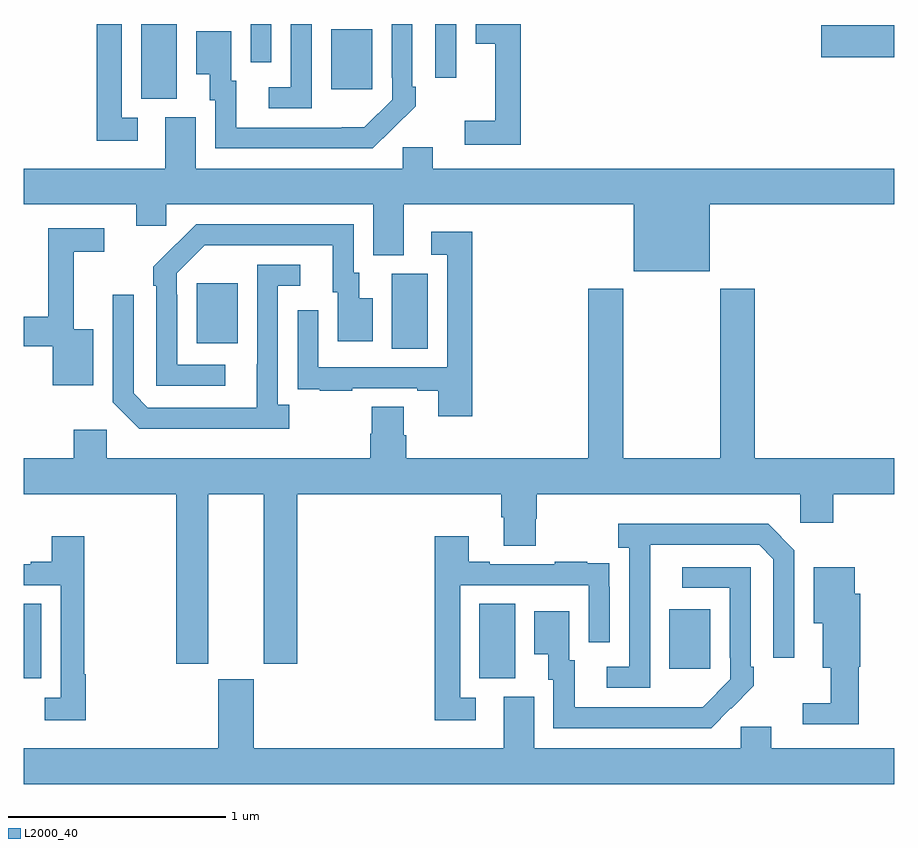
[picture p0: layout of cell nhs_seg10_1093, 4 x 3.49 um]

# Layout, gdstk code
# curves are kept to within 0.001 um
import gdstk
lib = gdstk.Library(unit=1e-6, precision=1e-09)
def R(c, l, rs):  # rectangles x0, y0, x1, y1
    for r in rs: c.add(gdstk.rectangle(r[:2], r[2:], *l))
def P(c, l, *ps):  # polygons
    for p in ps: c.add(gdstk.Polygon(p, *l))
L2000_40 = (2000, 40)

nhs_seg10_1093 = lib.new_cell('nhs_seg10_1093')
R(nhs_seg10_1093, L2000_40, [(167,1275.493,167.08,1275.836), (169.094,1275.493,169.258,1275.836), (169.967,1275.537,170.155,1275.811), (168.692,1277.008,168.856,1277.352), (167.795,1277.033,167.983,1277.308), (167.54,1278.157,167.704,1278.5), (168.413,1278.201,168.601,1278.475), (168.891,1278.252,168.987,1278.5), (168.042,1278.324,168.138,1278.5), (170.664,1278.347,171,1278.494)])
P(nhs_seg10_1093, L2000_40, [(167.524,1278.069),(167.451,1278.069),(167.451,1278.5),(167.335,1278.5),(167.335,1277.964),(167.524,1277.964)],
  [(168.695,1278.019),(168.696,1278.018),(168.801,1278.123),(168.801,1278.211),(168.786,1278.211),(168.786,1278.5),(168.69,1278.5),(168.69,1278.253),(168.693,1278.253),(168.693,1278.153),(168.565,1278.025),(167.977,1278.024),(167.977,1278.24),(167.953,1278.24),(167.953,1278.466),(167.792,1278.466),(167.792,1278.269),(167.855,1278.269),(167.855,1278.15),(167.88,1278.15),(167.88,1277.928),(168.604,1277.928)],
  [(168.324,1278.5),(168.228,1278.5),(168.228,1278.21),(168.126,1278.21),(168.126,1278.114),(168.324,1278.114)],
  [(169.283,1278.5),(169.076,1278.5),(169.076,1278.41),(169.166,1278.41),(169.166,1278.055),(169.026,1278.055),(169.026,1277.946),(169.283,1277.946)],
  [(170.152,1277.672),(171,1277.672),(171,1277.836),(168.88,1277.836),(168.88,1277.934),(168.741,1277.934),(168.741,1277.836),(167.791,1277.836),(167.791,1278.072),(167.651,1278.072),(167.651,1277.836),(167,1277.836),(167,1277.672),(167.516,1277.672),(167.516,1277.574),(167.655,1277.574),(167.655,1277.672),(168.605,1277.672),(168.605,1277.437),(168.745,1277.437),(168.745,1277.672),(169.802,1277.672),(169.802,1277.363),(170.152,1277.363)],
  [(167.926,1276.935),(167.706,1276.935),(167.706,1277.255),(167.703,1277.255),(167.703,1277.355),(167.832,1277.484),(168.419,1277.484),(168.419,1277.268),(168.443,1277.268),(168.443,1277.043),(168.604,1277.043),(168.604,1277.239),(168.541,1277.239),(168.541,1277.358),(168.516,1277.358),(168.516,1277.58),(167.792,1277.58),(167.595,1277.385),(167.595,1277.297),(167.61,1277.297),(167.61,1276.839),(167.926,1276.839)],
  [(167.32,1277.098),(167.231,1277.098),(167.231,1277.454),(167.371,1277.454),(167.371,1277.562),(167.113,1277.562),(167.113,1277.156),(167,1277.156),(167,1277.02),(167.133,1277.02),(167.133,1276.841),(167.32,1276.841)],
  [(169.061,1277.545),(168.873,1277.545),(168.873,1277.439),(168.945,1277.439),(168.945,1276.923),(168.354,1276.923),(168.354,1277.185),(168.258,1277.185),(168.258,1276.93),(168.259,1276.93),(168.259,1276.821),(168.361,1276.821),(168.361,1276.815),(168.509,1276.815),(168.509,1276.827),(168.809,1276.827),(168.809,1276.815),(168.905,1276.815),(168.905,1276.698),(169.061,1276.698)],
  [(168.22,1276.75),(168.168,1276.75),(168.168,1277.298),(168.271,1277.298),(168.271,1277.394),(168.072,1277.394),(168.071,1276.737),(167.571,1276.737),(167.505,1276.803),(167.505,1277.257),(167.409,1277.257),(167.409,1276.761),(167.53,1276.64),(168.22,1276.64)],
  [(170.568,1276.209),(170.72,1276.209),(170.72,1276.34),(171,1276.34),(171,1276.504),(170.36,1276.504),(170.36,1277.284),(170.2,1277.284),(170.2,1276.504),(169.755,1276.504),(169.755,1277.284),(169.595,1277.284),(169.595,1276.504),(168.758,1276.504),(168.758,1276.61),(168.745,1276.61),(168.745,1276.742),(168.598,1276.742),(168.598,1276.617),(168.593,1276.617),(168.593,1276.504),(167.382,1276.504),(167.382,1276.636),(167.231,1276.636),(167.231,1276.504),(167,1276.504),(167,1276.34),(167.701,1276.34),(167.701,1275.561),(167.848,1275.561),(167.848,1276.34),(168.104,1276.34),(168.104,1275.561),(168.257,1275.561),(168.257,1276.34),(169.193,1276.34),(169.193,1276.234),(169.205,1276.234),(169.205,1276.102),(169.353,1276.102),(169.353,1276.227),(169.358,1276.227),(169.358,1276.34),(170.568,1276.34)],
  [(169.878,1275.907),(169.879,1276.107),(170.379,1276.107),(170.445,1276.041),(170.445,1275.588),(170.541,1275.588),(170.541,1276.083),(170.42,1276.204),(169.731,1276.204),(169.731,1276.094),(169.782,1276.094),(169.782,1275.546),(169.68,1275.546),(169.68,1275.45),(169.878,1275.45)],
  [(169.078,1275.405),(169.005,1275.405),(169.005,1275.921),(169.596,1275.921),(169.596,1275.66),(169.692,1275.66),(169.692,1275.914),(169.691,1275.914),(169.691,1276.023),(169.589,1276.023),(169.589,1276.03),(169.441,1276.03),(169.441,1276.017),(169.141,1276.017),(169.141,1276.03),(169.045,1276.03),(169.045,1276.147),(168.889,1276.147),(168.889,1275.3),(169.078,1275.3)],
  [(167.285,1275.512),(167.278,1275.512),(167.278,1276.147),(167.129,1276.147),(167.129,1276.03),(167.033,1276.03),(167.033,1276.017),(167,1276.017),(167,1275.921),(167.169,1275.921),(167.169,1275.405),(167.097,1275.405),(167.097,1275.3),(167.285,1275.3)],
  [(170.249,1275.355),(170.25,1275.354),(170.355,1275.459),(170.355,1275.547),(170.34,1275.547),(170.34,1276.005),(170.025,1276.005),(170.025,1275.909),(170.244,1275.909),(170.244,1275.589),(170.247,1275.589),(170.247,1275.489),(170.119,1275.361),(169.531,1275.36),(169.531,1275.576),(169.507,1275.576),(169.507,1275.802),(169.346,1275.802),(169.346,1275.605),(169.409,1275.605),(169.409,1275.486),(169.434,1275.486),(169.434,1275.264),(170.158,1275.264)],
  [(170.837,1275.546),(170.843,1275.546),(170.843,1275.882),(170.818,1275.882),(170.818,1276.003),(170.63,1276.003),(170.63,1275.746),(170.672,1275.746),(170.672,1275.542),(170.709,1275.542),(170.709,1275.379),(170.58,1275.379),(170.58,1275.282),(170.837,1275.282)],
  [(171,1275.172),(170.434,1275.172),(170.434,1275.27),(170.295,1275.27),(170.295,1275.172),(169.345,1275.172),(169.345,1275.408),(169.205,1275.408),(169.205,1275.172),(168.058,1275.172),(168.058,1275.489),(167.894,1275.489),(167.894,1275.172),(167,1275.172),(167,1275.008),(171,1275.008)])

lib.write_gds('nhs_seg10_1093.gds')
